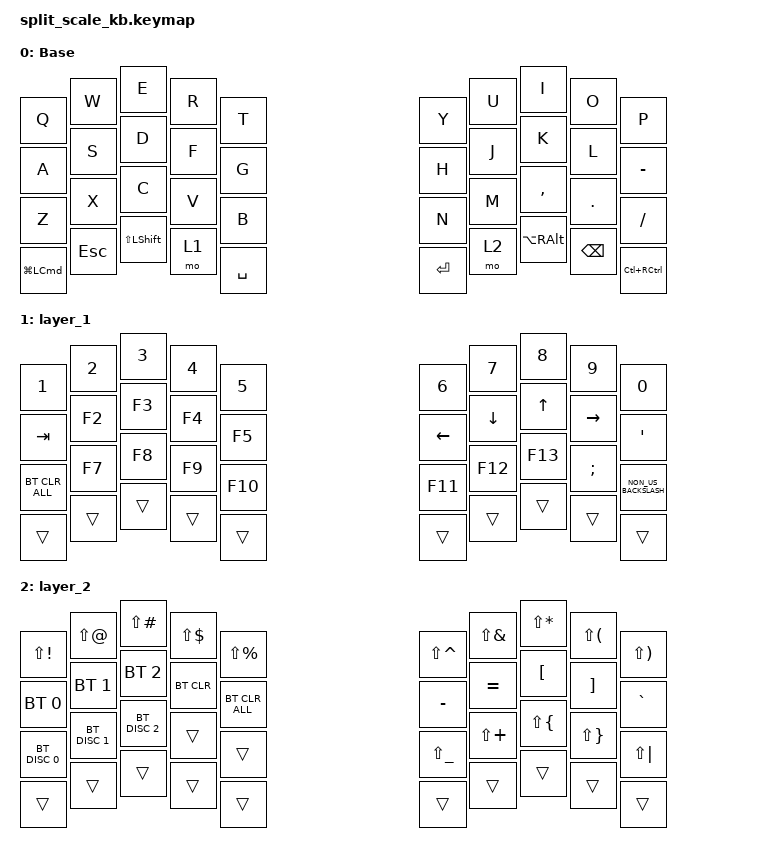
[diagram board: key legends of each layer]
#include <behaviors.dtsi>
#include <dt-bindings/zmk/bt.h>
#include <dt-bindings/zmk/keys.h>

/ {
    keymap {
        compatible = "zmk,keymap";

        default_layer {
            display-name = "Base";
            bindings = <
&kp Q         &kp W       &kp E               &kp R  &kp T      &kp Y      &kp U  &kp I              &kp O          &kp P
&kp A         &kp S       &kp D               &kp F  &kp G      &kp H      &kp J  &kp K              &kp L          &kp MINUS
&kp Z         &kp X       &kp C               &kp V  &kp B      &kp N      &kp M  &kp COMMA          &kp PERIOD     &kp SLASH
&kp LG(LCMD)  &kp ESCAPE  &kp LS(LEFT_SHIFT)  &mo 1  &kp SPACE  &kp ENTER  &mo 2  &kp LA(RIGHT_ALT)  &kp BACKSPACE  &kp LC(RCTRL)
            >;
        };

        layer_1 {
            bindings = <
&kp N1          &kp N2  &kp N3  &kp N4  &kp N5   &kp N6    &kp N7    &kp N8   &kp N9         &kp N0
&kp TAB         &kp F2  &kp F3  &kp F4  &kp F5   &kp LEFT  &kp DOWN  &kp UP   &kp RIGHT      &kp SQT
&bt BT_CLR_ALL  &kp F7  &kp F8  &kp F9  &kp F10  &kp F11   &kp F12   &kp F13  &kp SEMICOLON  &kp NON_US_BACKSLASH
&trans          &trans  &trans  &trans  &trans   &trans    &trans    &trans   &trans         &trans
            >;
        };

        layer_2 {
            bindings = <
&kp LS(EXCL)   &kp LS(AT)     &kp LS(POUND)  &kp LS(DLLR)  &kp LS(PRCNT)   &kp LS(CARET)  &kp LS(AMPS)  &kp LS(STAR)  &kp LS(LPAR)  &kp LS(RPAR)
&bt BT_SEL 0   &bt BT_SEL 1   &bt BT_SEL 2   &bt BT_CLR    &bt BT_CLR_ALL  &kp MINUS      &kp EQUAL     &kp LBKT      &kp RBKT      &kp GRAVE
&bt BT_DISC 0  &bt BT_DISC 1  &bt BT_DISC 2  &trans        &trans          &kp LS(UNDER)  &kp LS(PLUS)  &kp LS(LBRC)  &kp LS(RBRC)  &kp LS(PIPE)
&trans         &trans         &trans         &trans        &trans          &trans         &trans        &trans        &trans        &trans
            >;
        };
    };
};
